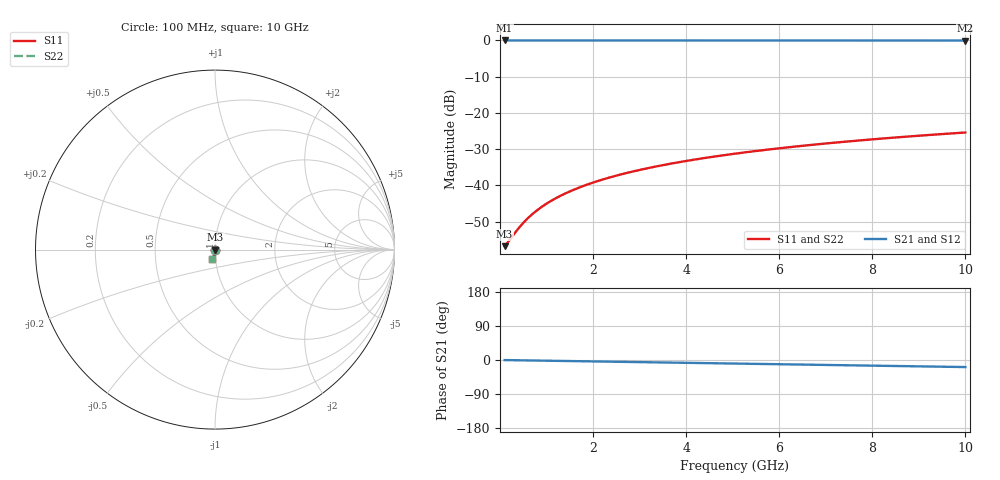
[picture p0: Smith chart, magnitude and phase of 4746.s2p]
# Hz S RI R 50.00
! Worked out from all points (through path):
!   100 points, 100 MHz to 10 GHz, reference 50 ohm
!   highest |S21| = -0.01 dB at 100 MHz (marker M1); lowest = 0.0 dB at 10 GHz (marker M2)
!   group delay of S21, straight-line fit = 5.18 ps
!   lowest |S11| = -56.8 dB at 100 MHz (marker M3), VSWR 1.00, Z = 50.1 - j0.0547 ohm
!   |S11| at or under -10 dB: start of sweep to end of sweep
!   |S22| runs from -56.8 to -25.4 dB; largest |S21 - S12| = 0
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1e8  0.00134 -0.000546  0.9986 -0.00324  0.9986 -0.00324  0.00134 -0.000546
2e8  0.00134 -0.00109  0.9986 -0.00648  0.9986 -0.00648  0.00134 -0.00109
4e8  0.00133 -0.00218  0.9985 -0.013  0.9985 -0.013  0.00133 -0.00218
5e8  0.00132 -0.00273  0.9985 -0.0162  0.9985 -0.0162  0.00132 -0.00273
6e8  0.0013 -0.00327  0.9984 -0.0194  0.9984 -0.0194  0.0013 -0.00327
7e8  0.00128 -0.00382  0.9983 -0.0227  0.9983 -0.0227  0.00128 -0.00382
8e8  0.00125 -0.00437  0.9983 -0.0259  0.9983 -0.0259  0.00125 -0.00437
1e9  0.00119 -0.00546  0.9981 -0.0324  0.9981 -0.0324  0.00119 -0.00546
1.2e9  0.00112 -0.00655  0.9978 -0.0389  0.9978 -0.0389  0.00112 -0.00655
1.5e9  0.000977 -0.00818  0.9974 -0.0486  0.9974 -0.0486  0.000977 -0.00818
1.8e9  0.000804 -0.00981  0.9968 -0.0583  0.9968 -0.0583  0.000804 -0.00981
2.1e9  0.000598 -0.0114  0.9962 -0.068  0.9962 -0.068  0.000598 -0.0114
2.5e9  0.000274 -0.0136  0.9952 -0.0809  0.9952 -0.0809  0.000274 -0.0136
2.9e9  -0.000106 -0.0158  0.994 -0.0939  0.994 -0.0939  -0.000106 -0.0158
3.4e9  -0.00066 -0.0184  0.9922 -0.11  0.9922 -0.11  -0.00066 -0.0184
4.2e9  -0.00173 -0.0227  0.9889 -0.1357  0.9889 -0.1357  -0.00173 -0.0227
5.1e9  -0.0032 -0.0274  0.9844 -0.1646  0.9844 -0.1646  -0.0032 -0.0274
5.9e9  -0.00473 -0.0316  0.9796 -0.1902  0.9796 -0.1902  -0.00473 -0.0316
6.7e9  -0.00648 -0.0356  0.9742 -0.2156  0.9742 -0.2156  -0.00648 -0.0356
7.5e9  -0.00844 -0.0396  0.968 -0.2409  0.968 -0.2409  -0.00844 -0.0396
8.4e9  -0.0109 -0.0439  0.9603 -0.2691  0.9603 -0.2691  -0.0109 -0.0439
1e10  -0.0159 -0.0512  0.9445 -0.3188  0.9445 -0.3188  -0.0159 -0.0512
